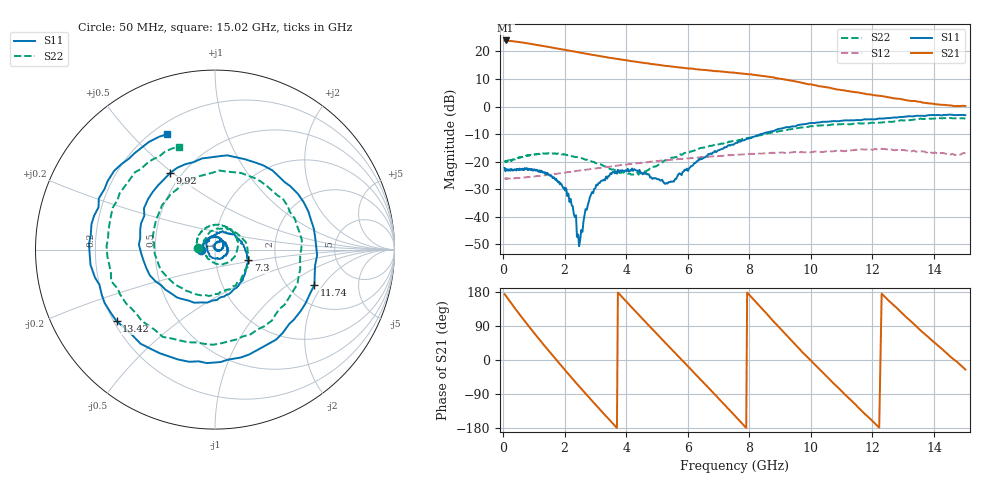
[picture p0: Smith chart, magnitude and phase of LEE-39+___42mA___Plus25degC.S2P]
! Mini-Circuits
! S2P DATA File Format
! Type: MMIC Amplifier
! Model: LEE-39+
! TEST CONDITIONS: INPUT POWER = -25dBm, Icc = 42mA, Vd = 3.62V @Temperature = +25degC
! 401 Frequency points
! S Parameters are in dB deg format
# MHz S DB R 50
!  FREQ  dB(S11)  PHS(S11)  dB(S21)  PHS(S21)  dB(S12)  PHS(S12)  dB(S22)  PHS(S22)
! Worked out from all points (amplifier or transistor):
!   401 points, 50 MHz to 15.02 GHz, reference 50 ohm
!   highest |S21| = 24.0 dB at 80 MHz (marker M1)
!   |S21| within 3 dB of that: start of sweep to 1.807 GHz
!   unconditionally stable (mu >= 1): start of sweep to end of sweep
!   at 1.04 GHz: K = 1.05, MAG = 22.6 dB, |S12| = -25.3 dB
!   at 4.57 GHz: K = 1.13, MAG = 15.9 dB, |S12| = -20.3 dB
!   at 15.02 GHz: K = 1.31, MAG = 5.3 dB, |S12| = -17.1 dB
!   S11 on the Smith chart (normalised r, x): 50 MHz: 0.86, -0.00; 7.3 GHz: 1.44, -0.17; 9.92 GHz: 0.43, +0.49; 11.74 GHz: 2.76, -1.65; 13.42 GHz: 0.21, -0.31; 15.02 GHz: 0.25, +0.63
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50  -22.28 -179.3  23.89 173.7  -26.00 -1.9  -20.23 174.7
80  -23.50 172.0  23.96 170.4  -25.97 -4.1  -19.68 174.5
425  -23.22 138.9  23.55 132.3  -25.97 -23.1  -18.73 150.5
725  -22.70 107.5  23.02 100.6  -25.63 -39.7  -18.10 126.1
1040  -23.13 77.7  22.46 68.1  -25.31 -57.7  -17.32 97.3
1445  -24.15 40.3  21.68 27.9  -24.79 -82.0  -17.11 64.7
1915  -28.62 1.0  20.73 -17.5  -24.12 -110.9  -17.33 28.0
2580  -45.44 126.8  19.38 -79.4  -23.09 -154.2  -18.80 -22.7
3100  -27.76 74.3  18.39 -126.4  -22.32 170.4  -20.62 -62.4
3630  -24.21 37.6  17.39 -173.2  -21.56 133.6  -23.03 -105.0
4360  -23.25 -21.4  16.15 123.3  -20.58 81.1  -23.94 -176.2
5060  -26.33 -107.4  15.11 63.5  -19.74 30.1  -21.06 119.4
6010  -23.35 99.8  13.83 -16.7  -18.83 -41.5  -16.57 41.1
7300  -14.22 -17.4  12.41 -127.5  -17.71 -139.8  -13.02 -56.9
7550  -13.29 -40.3  12.21 -148.8  -17.55 -159.6  -12.46 -78.0
8720  -9.00 -140.8  10.69 107.8  -16.78 108.9  -9.45 -176.3
9920  -6.11 120.4  8.06 5.2  -16.69 14.9  -7.37 92.0
10060  -5.95 109.3  7.89 -6.2  -16.52 3.9  -7.13 81.3
11740  -4.62 -19.4  4.68 -141.3  -15.63 -128.1  -6.11 -38.3
12580  -4.19 -83.3  3.25 152.7  -15.46 164.3  -5.54 -97.3
13420  -3.38 -143.9  1.93 89.4  -16.39 99.5  -4.65 -154.9
15020  -3.15 112.8  0.20 -25.2  -17.09 -10.4  -4.38 109.3
